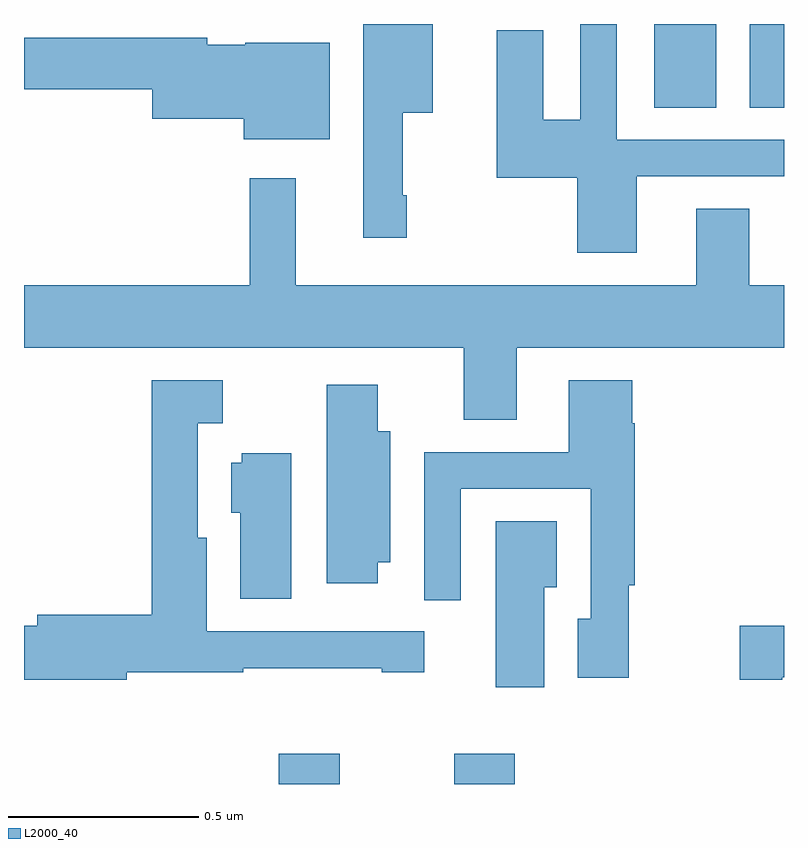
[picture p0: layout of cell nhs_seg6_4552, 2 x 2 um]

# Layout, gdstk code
import gdstk
lib = gdstk.Library(unit=1e-6, precision=1e-09)
def R(c, l, rs):  # rectangles x0, y0, x1, y1
    for r in rs: c.add(gdstk.rectangle(r[:2], r[2:], *l))
def P(c, l, *ps):  # polygons
    for p in ps: c.add(gdstk.Polygon(p, *l))
L2000_40 = (2000, 40)

nhs_seg6_4552 = lib.new_cell('nhs_seg6_4552')
R(nhs_seg6_4552, L2000_40, [(171.671,967.5,171.831,967.579), (172.132,967.5,172.292,967.579), (172.658,969.28,172.822,969.5), (172.91,969.28,173,969.5)])
P(nhs_seg6_4552, L2000_40, [(172.007,969.049),(171.997,969.049),(171.997,969.266),(172.075,969.266),(172.075,969.5),(171.893,969.5),(171.893,968.937),(172.007,968.937)],
  [(172.612,969.099),(173,969.099),(173,969.195),(172.56,969.195),(172.56,969.5),(172.464,969.5),(172.464,969.248),(172.366,969.248),(172.366,969.484),(172.244,969.484),(172.244,969.095),(172.456,969.095),(172.456,968.898),(172.612,968.898)],
  [(171.805,969.451),(171.582,969.451),(171.582,969.445),(171.482,969.445),(171.482,969.464),(171,969.464),(171,969.328),(171.338,969.328),(171.338,969.251),(171.578,969.251),(171.578,969.197),(171.805,969.197)],
  [(172.297,968.648),(173,968.648),(173,968.812),(172.909,968.812),(172.909,969.014),(172.769,969.014),(172.769,968.812),(171.715,968.812),(171.715,969.094),(171.594,969.094),(171.594,968.812),(171,968.812),(171,968.648),(172.157,968.648),(172.157,968.458),(172.297,968.458)],
  [(172.592,968.023),(172.607,968.023),(172.607,968.45),(172.601,968.45),(172.601,968.563),(172.433,968.563),(172.433,968.373),(172.053,968.373),(172.053,967.983),(172.149,967.983),(172.149,968.277),(172.491,968.277),(172.491,967.935),(172.457,967.935),(172.457,967.779),(172.592,967.779)],
  [(171.27,967.794),(171.577,967.794),(171.577,967.804),(171.941,967.804),(171.941,967.794),(172.053,967.794),(172.053,967.902),(171.481,967.902),(171.481,968.148),(171.457,968.148),(171.457,968.45),(171.523,968.45),(171.523,968.563),(171.336,968.563),(171.336,967.946),(171.035,967.946),(171.035,967.916),(171,967.916),(171,967.774),(171.27,967.774)],
  [(171.931,968.084),(171.964,968.084),(171.964,968.428),(171.931,968.428),(171.931,968.551),(171.797,968.551),(171.797,968.028),(171.931,968.028)],
  [(171.703,968.371),(171.573,968.371),(171.573,968.346),(171.545,968.346),(171.545,968.214),(171.569,968.214),(171.569,967.987),(171.703,967.987)],
  [(172.369,968.018),(172.402,968.018),(172.402,968.192),(172.241,968.192),(172.241,967.755),(172.369,967.755)],
  [(172.996,967.781),(173,967.781),(173,967.916),(172.884,967.916),(172.884,967.774),(172.996,967.774)])

lib.write_gds('nhs_seg6_4552.gds')
